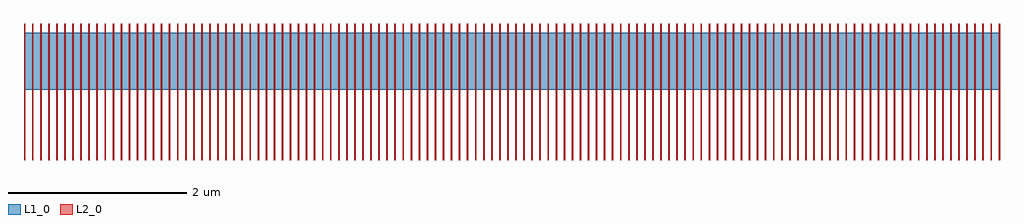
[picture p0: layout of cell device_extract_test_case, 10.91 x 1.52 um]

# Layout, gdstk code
import gdstk
lib = gdstk.Library(unit=1e-6, precision=1e-09)
def R(c, l, rs):  # rectangles x0, y0, x1, y1
    for r in rs: c.add(gdstk.rectangle(r[:2], r[2:], *l))
def A(c, l, x, y, w, h, nx, ny, dx, dy):  # array of equal rectangles
    R(c, l, [(x+i*dx, y+j*dy, x+i*dx+w, y+j*dy+h) for i in range(nx) for j in range(ny)])
L1_0 = (1, 0)
L2_0 = (2, 0)

device_extract_test_case = lib.new_cell('device_extract_test_case')
R(device_extract_test_case, L1_0, [(-10.853,1.475,0.053,2.109)])
A(device_extract_test_case, L2_0, -10.853, 0.688, 0.016, 1.521, 122, 1, 0.09, 0)

lib.write_gds('device_extract_test_case.gds')
